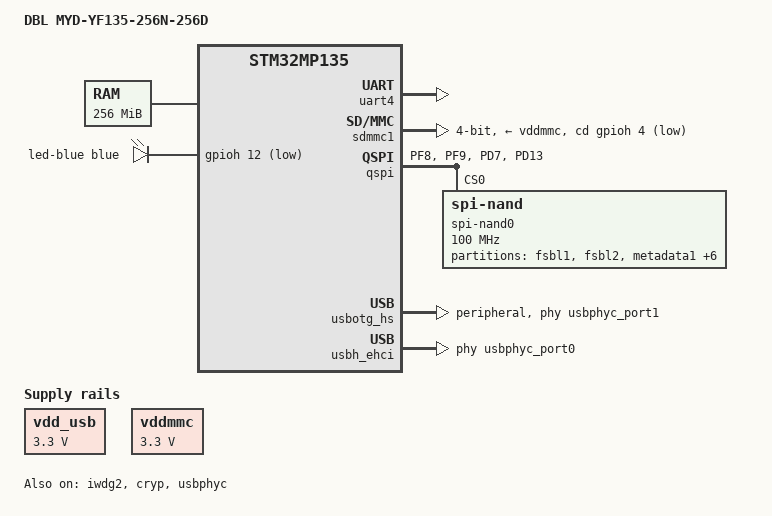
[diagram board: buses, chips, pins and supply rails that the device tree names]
// SPDX-License-Identifier: (GPL-2.0+ OR BSD-3-Clause)
/*
 * Device tree for MYD-YF135-256N-256D
 * SoC:   STM32MP135DAF7 (Cortex-A7, up to 1 GHz)
 * RAM:   256 MB LPDDR3
 * Flash: 256 MB SPI-NAND (Micron MT29F2G01ABAGDWB) via QSPI
 *
 * Enabled: console UART4, USB gadget (usbotg_hs), USB host (usbh_ehci),
 *          SPI-NAND via QSPI, SD card
 * Disabled: ethernet, audio, display, camera, CAN, I2C
 * Power: USB-powered; no suspend/sleep power states configured.
 *
 *
 * Derived from:
 *   upstream arch/arm/boot/dts/st/stm32mp135f-dk.dts (Linux 6.12)
 *   arch/arm/boot/dts/st/stm32mp13xx-dhcor-som.dtsi  (QSPI pattern)
 *   myir-st-linux: myb-stm32mp135x-base.dtsi + myb-stm32mp135x-256m.dts
 *
 */

/dts-v1/;

#include <dt-bindings/gpio/gpio.h>
#include <dt-bindings/leds/common.h>
#include <dt-bindings/regulator/st,stm32mp13-regulator.h>

#include "stm32mp135.dtsi"
#include "stm32mp13xf.dtsi"
#include "stm32mp13-pinctrl.dtsi"

/ {
	model = "DBL MYD-YF135-256N-256D";
	compatible = "myir,stm32mp135d-myd-yf135", "st,stm32mp135";

	aliases {
		serial0 = &uart4;
		mmc0    = &sdmmc1;
	};

	chosen {
		stdout-path = "serial0:115200n8";
	};

	/* 256 MB LPDDR3 */
	memory@c0000000 {
		device_type = "memory";
		reg = <0xc0000000 0x10000000>;
	};

	reserved-memory {
		#address-cells = <1>;
		#size-cells = <1>;
		ranges;

		/*
		 * 256 MB layout (memory ends at 0xd0000000):
		 *   OP-TEE shmem   @ 0xcd000000  16 MB
		 *   OP-TEE secure  @ 0xce000000  32 MB
		 * Must match CFG_TZDRAM_START / CFG_SHMEM_START in OP-TEE build.
		 */
		optee_framebuffer: optee-framebuffer@cd000000 {
			reg = <0xcd000000 0x1000000>;
			no-map;
		};
		optee: optee@ce000000 {
			reg = <0xce000000 0x2000000>;
			no-map;
		};
	};

	leds {
		compatible = "gpio-leds";
		led-blue {
			function = LED_FUNCTION_HEARTBEAT;
			color = <LED_COLOR_ID_BLUE>;
			gpios = <&gpioh 12 GPIO_ACTIVE_LOW>;
			linux,default-trigger = "heartbeat";
		};
	};

	/* USB PHY supply */
	vdd_usb: regulator-vdd-usb {
		compatible = "regulator-fixed";
		regulator-name = "vdd_usb";
		regulator-min-microvolt = <3300000>;
		regulator-max-microvolt = <3300000>;
		regulator-always-on;
		regulator-boot-on;
	};

	/* SD card MMC supply */
	vddmmc: regulator-vddmmc {
		compatible = "regulator-fixed";
		regulator-name = "vddmmc";
		regulator-min-microvolt = <3300000>;
		regulator-max-microvolt = <3300000>;
	};
};

&iwdg2 {
	timeout-sec = <32>;
	status = "okay";
};

&cryp  { status = "okay"; };

/* Console :: UART4 */
&uart4 {
	pinctrl-names = "default";
	pinctrl-0 = <&uart4_pins_a>;
	/delete-property/ dmas;
	/delete-property/ dma-names;
	status = "okay";
};

/* SD card :: dev/flashing only */
&sdmmc1 {
	pinctrl-names = "default", "opendrain";
	pinctrl-0 = <&sdmmc1_b4_pins_a &sdmmc1_clk_pins_a>;
	pinctrl-1 = <&sdmmc1_b4_od_pins_a &sdmmc1_clk_pins_a>;
	cd-gpios = <&gpioh 4 (GPIO_ACTIVE_LOW | GPIO_PULL_UP)>;
	disable-wp;
	st,neg-edge;
	bus-width = <4>;
	vmmc-supply = <&vddmmc>;
	status = "okay";
};

/* Board-specific QSPI BK1 pins :: IO2/IO3 differ from upstream qspi_bk1_pins_a.
 * Upstream uses PD11/PH7; this board routes them to PD7/PD13. */
&pinctrl {
	qspi_bk1_pins_b: qspi-bk1-1 {
		pins {
			pinmux = <STM32_PINMUX('F', 8, AF10)>,  /* QSPI_BK1_IO0 */
				 <STM32_PINMUX('F', 9, AF10)>,  /* QSPI_BK1_IO1 */
				 <STM32_PINMUX('D', 7, AF11)>,  /* QSPI_BK1_IO2 */
				 <STM32_PINMUX('D', 13, AF9)>;  /* QSPI_BK1_IO3 */
			bias-disable;
			drive-push-pull;
			slew-rate = <1>;
		};
	};
	qspi_bk1_sleep_pins_b: qspi-bk1-sleep-1 {
		pins {
			pinmux = <STM32_PINMUX('F', 8, ANALOG)>,
				 <STM32_PINMUX('F', 9, ANALOG)>,
				 <STM32_PINMUX('D', 7, ANALOG)>,
				 <STM32_PINMUX('D', 13, ANALOG)>;
		};
	};
};

/* SPI-NAND via QSPI :: production boot and storage */
&qspi {
	pinctrl-names = "default";
	pinctrl-0 = <&qspi_clk_pins_a &qspi_bk1_pins_b &qspi_cs1_pins_a>;
	reg = <0x58003000 0x1000>, <0x70000000 0x4000000>;
	#address-cells = <1>;
	#size-cells = <0>;
	status = "okay";

	flash0: spi-nand@0 {
		compatible = "spi-nand";
		reg = <0>;
		spi-rx-bus-width = <4>;
		spi-tx-bus-width = <4>;
		spi-max-frequency = <100000000>;
		#address-cells = <1>;
		#size-cells = <1>;
		label = "spi-nand0";

		partitions {
			compatible = "fixed-partitions";
			#address-cells = <1>;
			#size-cells = <1>;

			partition@0 {
				label = "fsbl1";
				reg = <0x000000 0x080000>; /* 512 KB (TF-A BL2 copy 1) */
			};
			partition@80000 {
				label = "fsbl2";
				reg = <0x080000 0x080000>; /* 512 KB (TF-A BL2 copy 2) */
			};
			partition@100000 {
				label = "metadata1";
				reg = <0x100000 0x080000>; /* 512 KB (FWU metadata A) */
			};
			partition@180000 {
				label = "metadata2";
				reg = <0x180000 0x080000>; /* 512 KB (FWU metadata B) */
			};
			partition@200000 {
				label = "fip-a1";
				reg = <0x200000 0x400000>; /* 4 MB (FIP bank A copy 1) */
			};
			partition@600000 {
				label = "fip-a2";
				reg = <0x600000 0x400000>; /* 4 MB (FIP bank A copy 2) */
			};
			partition@a00000 {
				label = "fip-b1";
				reg = <0xa00000 0x400000>; /* 4 MB (FIP bank B copy 1) */
			};
			partition@e00000 {
				label = "fip-b2";
				reg = <0xe00000 0x400000>; /* 4 MB (FIP bank B copy 2) */
			};
			partition@1200000 {
				label = "UBI";
				reg = <0x1200000 0xee00000>; /* remaining ~238 MB (rootfs + data) */
			};
		};
	};
};

/* USB gadget :: USB ethernet, ACM, mass storage via g_ether etc. */
&usbotg_hs {
	dr_mode = "peripheral";
	phys = <&usbphyc_port1 0>;
	phy-names = "usb2-phy";
	status = "okay";
};

/* USB host */
&usbh_ehci {
	phys = <&usbphyc_port0>;
	status = "okay";
};

&usbphyc {
	status = "okay";
};

&usbphyc_port0 {
	phy-supply = <&vdd_usb>;
	st,current-boost-microamp = <1000>;
	st,decrease-hs-slew-rate;
	st,tune-hs-dc-level = <2>;
	st,enable-hs-rftime-reduction;
	st,trim-hs-current = <11>;
	st,trim-hs-impedance = <2>;
	st,tune-squelch-level = <1>;
	st,enable-hs-rx-gain-eq;
	st,no-hs-ftime-ctrl;
	st,no-lsfs-sc;
};

&usbphyc_port1 {
	phy-supply = <&vdd_usb>;
	st,current-boost-microamp = <1000>;
	st,decrease-hs-slew-rate;
	st,tune-hs-dc-level = <2>;
	st,enable-hs-rftime-reduction;
	st,trim-hs-current = <11>;
	st,trim-hs-impedance = <2>;
	st,tune-squelch-level = <1>;
	st,enable-hs-rx-gain-eq;
	st,no-hs-ftime-ctrl;
	st,no-lsfs-sc;
};
